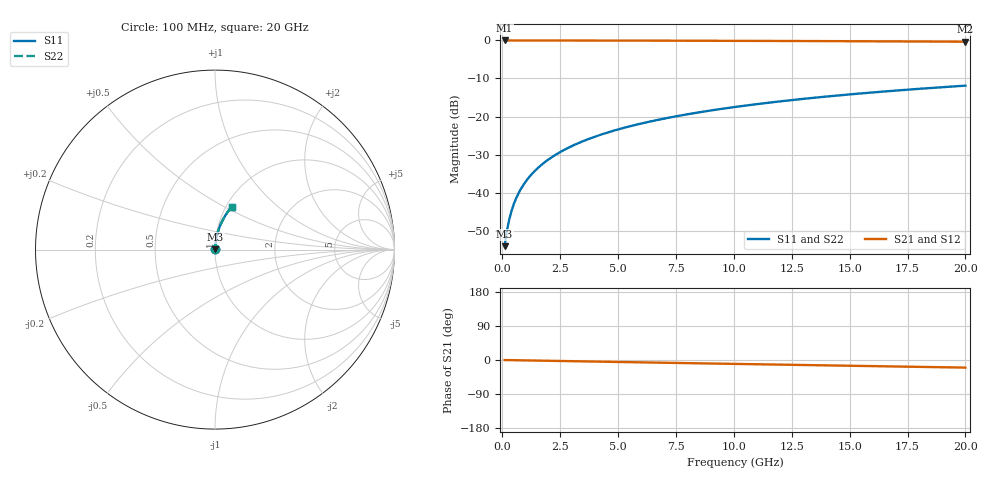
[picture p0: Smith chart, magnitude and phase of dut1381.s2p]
! Touchstone file exported from HFSS 2026.1.0
!  File:  C:/ffzhzh/LocalFiles/Ansys_Project_Files/temp_train_BSMRDL_1381_1783179549_22436.aedt
!  Generated:  11:40:21 PM Jul  4, 2026
!  Design:  BSMRDL
!  Project:  temp_train_BSMRDL_1381_1783179549_22436
! Variables:
!  h_bsmrdl = 3.75um
!  h_ox = 20um
!  h_rdl = 5um
!  h_sub = 80um
!  h_tmrdl = 5um
!  h_tsv = 80um
!  h_via = 3um
!  l_bsmrdl = 200.32um
!  l_sub = 600.32um
!  l_tmrdl = 200um
!  m_sub = 200um
!  pitch = 59.88um
!  r_tsv = 6um
!  s_tmrdl = 10um
!  w_bsmrdl = 15.46um
!  w_sub = 500um
!  w_tmrdl = 12um
!  x_tsv_center1 = 206um
!  x_tsv_center2 = 421.78um
!  x_tsv_center3 = 633.78um
!  x_tsv_center4 = 849.56um
!  x_tsv_center5 = 1061.56um
!  x_tsv_center6 = 1277.34um
# GHz S MA R 50.000000
! Terminal data exported
! Port[1] = BSM_RDL1_1_T1
! Port[2] = BSM_RDL1_1_T2
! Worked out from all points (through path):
!   200 points, 100 MHz to 20 GHz, reference 50 ohm
!   highest |S21| = -0.01 dB at 100 MHz (marker M1); lowest = -0.3 dB at 20 GHz (marker M2)
!   group delay of S21, straight-line fit = 2.79 ps
!   lowest |S11| = -54.1 dB at 100 MHz (marker M3), VSWR 1.00, Z = 50.1 + j0.142 ohm
!   |S11| at or under -10 dB: start of sweep to end of sweep
!   |S22| runs from -54.1 to -11.9 dB; largest |S21 - S12| = 3e-15
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0.1  0.001983 45.5  0.9986 -0.1  0.9986 -0.1  0.001983 45.5
! Gamma 0 0 0 0
! Port Impedance 50 0 50 0
0.2  0.003159 63.2  0.9986 -0.2  0.9986 -0.2  0.003159 63.2
0.3  0.004458 70.7  0.9985 -0.3  0.9985 -0.3  0.004458 70.7
0.4  0.005786 74.7  0.9985 -0.4  0.9985 -0.4  0.005786 74.7
0.5  0.007123 77.1  0.9985 -0.5  0.9985 -0.5  0.007124 77.1
0.7  0.009807 80.0  0.9984 -0.7  0.9984 -0.7  0.009807 80.0
0.8  0.01115 80.9  0.9984 -0.8  0.9984 -0.8  0.01115 80.9
1  0.01385 82.2  0.9983 -1.1  0.9983 -1.1  0.01385 82.2
1.2  0.01655 83.0  0.9982 -1.3  0.9982 -1.3  0.01655 83.0
1.4  0.01925 83.5  0.9981 -1.5  0.9981 -1.5  0.01925 83.5
1.7  0.02332 84.0  0.998 -1.8  0.998 -1.8  0.02332 84.0
2  0.02738 84.2  0.9979 -2.1  0.9979 -2.1  0.02738 84.2
2.7  0.03685 84.2  0.9974 -2.8  0.9974 -2.8  0.03685 84.2
3.5  0.04763 83.9  0.9968 -3.7  0.9968 -3.7  0.04763 83.9
4.2  0.05703 83.4  0.9962 -4.4  0.9962 -4.4  0.05703 83.4
5  0.06771 82.8  0.9953 -5.2  0.9953 -5.2  0.06771 82.8
6.8  0.09151 81.2  0.993 -7.0  0.993 -7.0  0.09151 81.2
8.3  0.1111 79.8  0.9906 -8.6  0.9906 -8.6  0.1111 79.8
10.1  0.1342 78.1  0.9873 -10.4  0.9873 -10.4  0.1342 78.1
13.4  0.1757 74.9  0.9802 -13.7  0.9802 -13.7  0.1757 74.9
16.7  0.2158 71.8  0.9717 -16.9  0.9717 -16.9  0.2158 71.8
20  0.2545 68.8  0.9619 -20.1  0.9619 -20.1  0.2545 68.8
